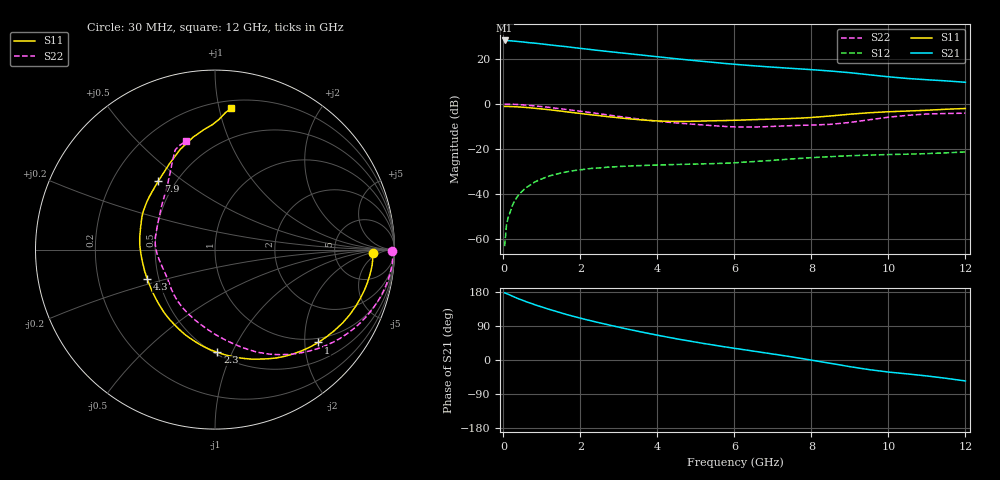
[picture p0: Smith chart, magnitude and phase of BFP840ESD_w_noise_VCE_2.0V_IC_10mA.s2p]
! Infineon Technologies  Discrete & RF Semiconductors
! BFP840ESD
! VCE =  2.0 V,  IC =  10 mA
! Common Emitter S-Parameters:  May 2012
# GHz  S  MA  R  50
!  f  S11  S21  S12  S22
! GHz  MAG  ANG  MAG  ANG  MAG  ANG  MAG  ANG
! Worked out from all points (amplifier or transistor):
!   93 points, 30 MHz to 12 GHz, reference 50 ohm
!   highest |S21| = 28.2 dB at 30 MHz (marker M1)
!   |S21| within 3 dB of that: start of sweep to 1.748 GHz
!   unconditionally stable (mu >= 1): 5.506 GHz to 9.236 GHz
!   at 1.1 GHz: K = 0.28, MSG = 29.5 dB, |S12| = -32.5 dB
!   at 4.2 GHz: K = 0.81, MSG = 23.8 dB, |S12| = -27.0 dB
!   at 12 GHz: K = 0.71, MSG = 15.5 dB, |S12| = -21.3 dB
!   lowest NFmin = 0.81 dB at 450 MHz
!   S11 on the Smith chart (normalised r, x): 30 MHz: 15, -2; 1 GHz: 0.90, -2.31; 2.3 GHz: 0.52, -0.88; 4.3 GHz: 0.43, -0.17; 7.9 GHz: 0.40, +0.41; 12 GHz: 0.26, +1.09
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0.03  0.8792 -1.2  25.6 177.3  0.0007 117.2  0.9834 -0.3
0.08  0.8803 -3.5  25.55 175.3  0.0021 88.8  0.9916 -2.4
0.23  0.8728 -10.2  24.95 168.6  0.0055 78.6  0.9837 -8.1
0.5  0.846 -21.7  23.71 157.4  0.0119 73.5  0.9537 -17.2
0.8  0.8039 -34.1  22.38 146.4  0.0183 67.1  0.9077 -26.6
1  0.7741 -41.9  21.38 139.8  0.0218 62.0  0.8724 -32.5
1.2  0.7416 -49.6  20.44 133.3  0.0253 58.0  0.8359 -38.1
1.6  0.6743 -64.5  18.78 121.2  0.0307 49.6  0.7602 -48.6
2.1  0.5991 -81.9  16.71 107.8  0.0354 41.8  0.6712 -60.5
2.3  0.5719 -88.7  15.96 102.9  0.0372 39.2  0.6369 -64.9
2.8  0.5128 -105.7  14.32 91.0  0.0399 33.5  0.5568 -75.7
3.1  0.4824 -115.9  13.46 84.2  0.0413 30.9  0.5143 -82.2
3.6  0.4416 -132.9  12.11 73.6  0.043 26.8  0.4534 -93.8
4.1  0.4157 -150.2  10.9 63.5  0.0445 24.1  0.4066 -106.1
4.3  0.4117 -156.7  10.46 59.7  0.045 23.2  0.3917 -111.1
5.2  0.4181 178.0  8.761 43.6  0.047 20.4  0.3415 -131.4
6.1  0.4362 160.8  7.464 29.4  0.0501 19.9  0.3087 -151.0
7.9  0.4956 129.7  5.839 1.4  0.0637 14.4  0.3388 169.6
8.5  0.5413 118.0  5.367 -8.8  0.0678 10.7  0.3531 153.8
9.5  0.6377 101.1  4.438 -25.4  0.0732 3.5  0.4446 126.7
10.5  0.6963 91.2  3.667 -36.8  0.0768 -2.4  0.5586 114.7
12  0.7938 83.4  3.024 -55.3  0.0861 -9.1  0.6236 105.0
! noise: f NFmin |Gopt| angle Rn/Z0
0.45  0.81  0.27  1  0.13
0.9  0.82  0.27  5  0.13
1.5  0.83  0.27  11  0.12
1.9  0.83  0.26  16  0.12
2.4  0.84  0.22  24  0.12
3.5  0.85  0.14  60  0.1
5.5  0.93  0.08  152  0.09
8  1.07  0.3  -125  0.11
10  1.21  0.47  -86  0.18
12  1.42  0.6  -71  0.28
